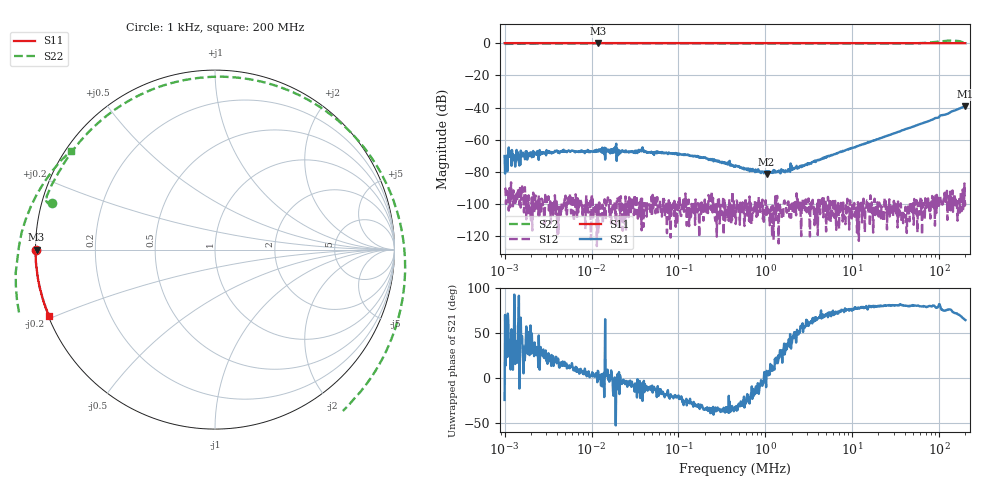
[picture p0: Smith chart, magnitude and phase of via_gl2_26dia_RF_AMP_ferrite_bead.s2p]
! ListType=Log
# MHZ S RI R 50
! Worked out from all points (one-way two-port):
!   1000 points, 1 kHz to 200 MHz, reference 50 ohm
!   highest |S21| = -39.18 dB at 200 MHz (marker M1); lowest = -81.3 dB at 1.033 MHz (marker M2)
!   lowest |S11| = -0.1 dB at 11.95 kHz (marker M3), VSWR 320.72, Z = 0.156 - j0.0259 ohm
!   |S11| at or under -10 dB: nowhere
!   |S22| runs from -0.5 to 1.7 dB; largest |S21 - S12| = 0.011
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0.001  -0.9983 -0.000245  0.000286 -0.00013  -1.15e-05 -2.99e-05  -0.9089 0.26
0.0011721  -0.9986 -0.000737  0.000291 4.86e-05  1.14e-05 -1.18e-05  -0.9124 0.2585
0.0013908  -0.9986 -0.000851  0.000234 0.000206  1.36e-05 4.5e-06  -0.917 0.2576
0.0018648  -0.9987 -0.00105  0.000302 0.000152  -2.8e-06 4e-06  -0.9239 0.2575
0.0076941  -0.9997 -0.000288  0.000463 6.57e-05  -2.1e-06 8.4e-06  -0.9422 0.2759
0.011945  -0.9938 -0.00103  0.000431 5.74e-05  -1.2e-06 6e-07  -0.9435 0.2782
0.0584804  -0.9998 -9.97e-05  0.000391 -0.000123  1.1e-06 -7.5e-06  -0.9406 0.2882
0.4499541  -0.9997 -0.000806  0.000129 -9.22e-05  1.8e-06 7.1e-06  -0.9349 0.303
1.032759  -0.9998 -0.0019  8.56e-05 1.2e-05  -3.9e-06 -4e-07  -0.9263 0.3229
1.746512  -0.9997 -0.00353  9.23e-05 5.7e-05  2.5e-06 -5.5e-06  -0.9158 0.347
3.419952  -0.9998 -0.00679  8.7e-05 0.000181  -1.8e-06 -7.2e-06  -0.8867 0.4028
12.03851  -0.9996 -0.0235  0.000145 0.000653  -7.5e-06 -3e-07  -0.7122 0.6466
26.31347  -0.9988 -0.0511  0.000209 0.00139  3.6e-06 -3.5e-06  -0.3118 0.9064
50.9003  -0.9952 -0.0982  0.000425 0.00259  -1e-07 -2.3e-06  0.4925 0.8486
64.99008  -0.9921 -0.125  0.000564 0.00325  6e-06 -3.9e-06  0.8567 0.5339
81.97236  -0.9873 -0.1571  0.000736 0.00409  5.3e-06 -7.1e-06  1.057 -0.0223
103.3922  -0.9795 -0.197  0.0011 0.0056  -9.6e-06 -1.12e-05  0.8402 -0.7545
128.8255  -0.9681 -0.2438  0.00155 0.00651  -1.25e-05 -1.01e-05  0.0311 -1.195
145.5678  -0.9587 -0.2747  0.00223 0.00756  5.8e-06 -1.22e-05  -0.5687 -1.06
164.4859  -0.9485 -0.3079  0.00292 0.00851  4.6e-06 -3.3e-06  -1.028 -0.5582
179.1732  -0.9389 -0.3329  0.00362 0.00926  -1.87e-05 -8.8e-06  -1.102 -0.0581
200  -0.9243 -0.3698  0.0047 0.00993  -1.29e-05 -6.6e-06  -0.8026 0.5506
